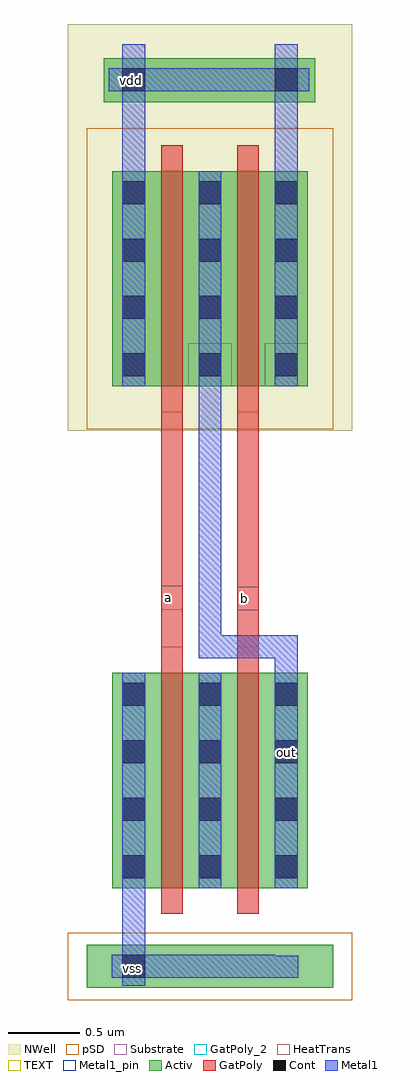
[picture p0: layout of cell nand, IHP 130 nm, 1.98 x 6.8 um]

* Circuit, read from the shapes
.subckt nand a b out vdd vss
XM1 n1 a vss vss sg13_lv_nmos w=1.5u l=0.15u
XM2 out b n1 vss sg13_lv_nmos w=1.5u l=0.15u
XM3 out a vdd vdd sg13_lv_pmos w=1.5u l=0.15u
XM4 vdd b out vdd sg13_lv_pmos w=1.5u l=0.15u
.ends

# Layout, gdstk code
import gdstk
lib = gdstk.Library(unit=1e-6, precision=5e-09)
def R(c, l, rs):  # rectangles x0, y0, x1, y1
    for r in rs: c.add(gdstk.rectangle(r[:2], r[2:], *l))
def A(c, l, x, y, w, h, nx, ny, dx, dy):  # array of equal rectangles
    R(c, l, [(x+i*dx, y+j*dy, x+i*dx+w, y+j*dy+h) for i in range(nx) for j in range(ny)])
def P(c, l, *ps):  # polygons
    for p in ps: c.add(gdstk.Polygon(p, *l))
Activ = (1, 0)
GatPoly = (5, 0)
GatPoly_2 = (5, 2)
Cont = (6, 0)
Metal1 = (8, 0)
Metal1_pin = (8, 2)
pSD = (14, 0)
NWell = (31, 0)
Substrate = (40, 0)
HeatTrans = (51, 0)
TEXT = (63, 0)

nmos_1 = lib.new_cell('nmos$1')
R(nmos_1, Activ, [(0,0,0.3,0.3), (0,0,0.83,1.5), (0.53,0,0.83,0.3)])
R(nmos_1, GatPoly, [(0.34,-0.18,0.49,1.68)])
R(nmos_1, GatPoly_2, [(0.34,-0.18,0.49,1.68)])
A(nmos_1, Cont, 0.07, 0.07, 0.16, 0.16, 1, 4, 0, 0.4)
A(nmos_1, Cont, 0.6, 0.07, 0.16, 0.16, 1, 4, 0, 0.4)
R(nmos_1, Metal1, [(0.07,0,0.23,1.5), (0.6,0,0.76,1.5)])
R(nmos_1, Metal1_pin, [(0.07,0,0.23,1.5), (0.6,0,0.76,1.5)])
R(nmos_1, HeatTrans, [(0.34,-0.18,0.49,1.68)])
nmos_1.add(gdstk.Label('nmos', (0.415,0.75), layer=63, texttype=0))
nmos_1.add(gdstk.Label('nmos', (0.415,0.75), layer=51, texttype=0))

pmos = lib.new_cell('pmos')
R(pmos, Activ, [(0,0,0.3,0.3), (0,0,0.83,1.5), (0.53,0,0.83,0.3)])
R(pmos, GatPoly, [(0.34,-0.18,0.49,1.68), (0.34,-0.18,0.49,1.68)])
A(pmos, Cont, 0.07, 0.07, 0.16, 0.16, 1, 4, 0, 0.4)
A(pmos, Cont, 0.6, 0.07, 0.16, 0.16, 1, 4, 0, 0.4)
R(pmos, Metal1, [(0.07,0,0.23,1.5), (0.07,0,0.23,1.5), (0.6,0,0.76,1.5), (0.6,0,0.76,1.5)])
R(pmos, pSD, [(-0.18,-0.3,1.01,1.8)])
R(pmos, NWell, [(-0.31,-0.31,1.14,1.81)])
R(pmos, Substrate, [(0.53,0,0.83,0.3)])
R(pmos, HeatTrans, [(0.34,-0.18,0.49,1.68)])
pmos.add(gdstk.Label('pmos', (0.415,0.75), layer=63, texttype=0))
pmos.add(gdstk.Label('pmos', (0.415,0.75), layer=51, texttype=0))

nand = lib.new_cell('nand')
R(nand, Activ, [(-2.805,-2.995,-1.085,-2.695), (-2.685,3.175,-1.21,3.48)])
R(nand, GatPoly, [(-2.285,-0.62,-2.135,1.06), (-1.755,-0.62,-1.605,1.07)])
R(nand, GatPoly_2, [(-1.755,-0.365,-1.605,-0.2), (-2.285,-0.36,-2.135,-0.195)])
R(nand, Cont, [(-2.555,-2.925,-2.395,-2.765), (-2.555,3.25,-2.395,3.41), (-1.495,3.25,-1.335,3.41)])
R(nand, Metal1, [(-2.555,-2.98,-2.395,-2.765), (-2.63,-2.925,-2.395,-2.765), (-2.555,2.465,-2.395,3.58), (-1.495,2.695,-1.335,3.58), (-2.65,3.25,-1.255,3.41)])
P(nand, Metal1, [(-2.025,1.195),(-2.025,1.195),(-1.865,1.195),(-1.865,1.195)])
R(nand, Metal1_pin, [(-1.495,-1.43,-1.335,-1.27), (-2.555,3.25,-2.395,3.41), (-1.495,3.25,-1.335,3.41)])
R(nand, pSD, [(-2.935,-3.08,-0.955,-2.61)])
R(nand, NWell, [(-2.935,3.005,-0.955,3.72)])
nand.add(gdstk.FlexPath([(-1.945,0.465),(-1.945,-0.62),(-1.415,-0.62),(-1.415,-1.03),(-1.415,-1.16)], 0.16, ends="flush", simple_path=True, layer=8, datatype=0))  # Metal1
nand.add(gdstk.FlexPath([(-1.945,0.465),(-1.945,1.265),(-1.945,1.265)], 0.16, ends="flush", simple_path=True, layer=8, datatype=0))  # Metal1
nand.add(gdstk.FlexPath([(-2.475,-2.07),(-2.475,-2.845),(-1.41,-2.845),(-1.41,-2.77)], 0.16, ends="flush", simple_path=True, layer=8, datatype=0))  # Metal1
nand.add(gdstk.FlexPath([(-2.475,-2.845),(-2.555,-2.845),(-2.555,-2.845)], 0.16, ends="flush", simple_path=True, layer=63, datatype=0))  # TEXT
nand.add(gdstk.Reference(nmos_1, (-2.625,-2.3)))
nand.add(gdstk.Reference(nmos_1, (-2.095,-2.3)))
nand.add(gdstk.Reference(pmos, (-2.625,1.195)))
nand.add(gdstk.Reference(pmos, (-2.095,1.195)))
nand.add(gdstk.Label('vdd', (-2.49,3.325), layer=8, texttype=2))
nand.add(gdstk.Label('out', (-1.415,-1.355), layer=8, texttype=2))
nand.add(gdstk.Label('vss', (-2.485,-2.86), layer=8, texttype=2))
nand.add(gdstk.Label('b', (-1.705,-0.28), layer=5, texttype=2))
nand.add(gdstk.Label('a', (-2.235,-0.275), layer=5, texttype=2))

lib.write_gds('nand.gds')
